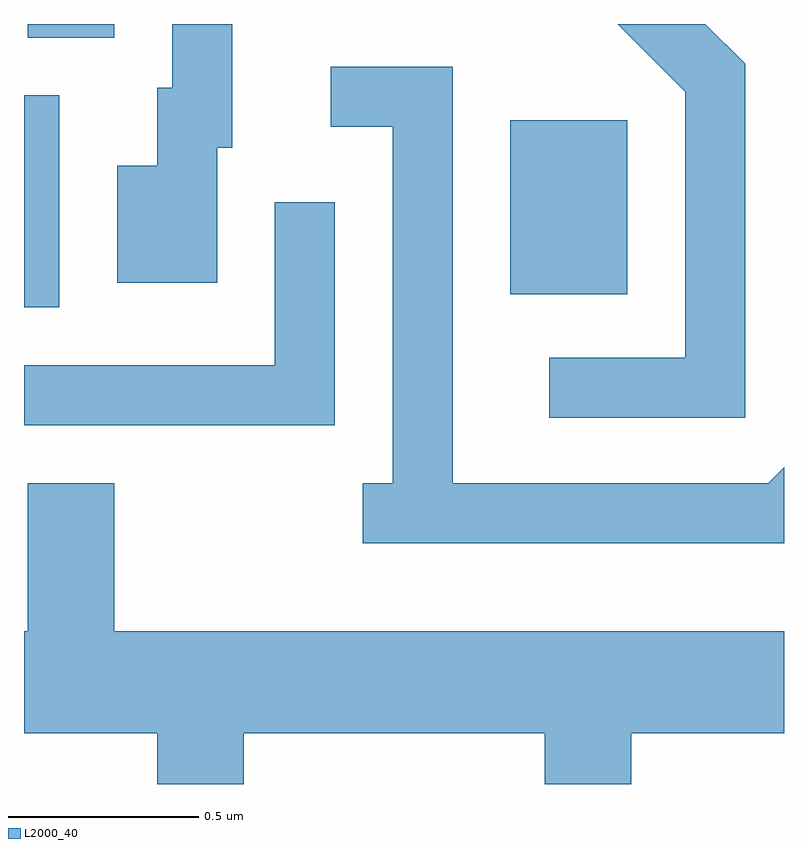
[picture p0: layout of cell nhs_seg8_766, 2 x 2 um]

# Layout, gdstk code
import gdstk
lib = gdstk.Library(unit=1e-6, precision=1e-09)
def R(c, l, rs):  # rectangles x0, y0, x1, y1
    for r in rs: c.add(gdstk.rectangle(r[:2], r[2:], *l))
def P(c, l, *ps):  # polygons
    for p in ps: c.add(gdstk.Polygon(p, *l))
L2000_40 = (2000, 40)

nhs_seg8_766 = lib.new_cell('nhs_seg8_766')
R(nhs_seg8_766, L2000_40, [(190.611,1888.596,190.704,1889.154), (191.891,1888.631,192.199,1889.089), (190.621,1889.306,190.849,1889.342)])
P(nhs_seg8_766, L2000_40, [(191.119,1889.016),(191.159,1889.016),(191.159,1889.342),(191.001,1889.342),(191.001,1889.174),(190.961,1889.174),(190.961,1888.969),(190.856,1888.969),(190.856,1888.661),(191.119,1888.661)],
  [(192.509,1889.237),(192.404,1889.342),(192.173,1889.342),(192.351,1889.164),(192.351,1888.464),(191.993,1888.464),(191.993,1888.306),(192.509,1888.306)],
  [(192.611,1888.176),(192.569,1888.134),(191.739,1888.134),(191.739,1889.229),(191.418,1889.229),(191.418,1889.071),(191.581,1889.071),(191.581,1888.134),(191.503,1888.134),(191.503,1887.976),(192.611,1887.976)],
  [(191.429,1888.873),(191.271,1888.873),(191.271,1888.444),(190.611,1888.444),(190.611,1888.286),(191.429,1888.286)],
  [(191.189,1887.476),(191.981,1887.476),(191.981,1887.342),(192.209,1887.342),(192.209,1887.476),(192.611,1887.476),(192.611,1887.744),(190.849,1887.744),(190.849,1888.134),(190.621,1888.134),(190.621,1887.744),(190.611,1887.744),(190.611,1887.476),(190.961,1887.476),(190.961,1887.342),(191.189,1887.342)])

lib.write_gds('nhs_seg8_766.gds')
